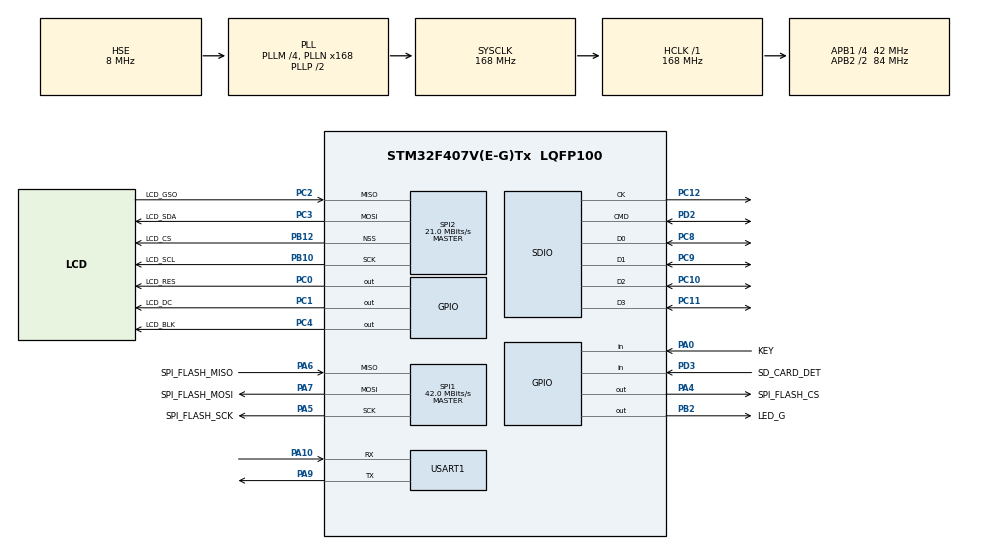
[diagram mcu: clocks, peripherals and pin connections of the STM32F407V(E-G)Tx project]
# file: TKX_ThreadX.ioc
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Dma.Request0=SDIO
Dma.Request1=SPI1_RX
Dma.Request2=SPI1_TX
Dma.Request3=SPI2_RX
Dma.Request4=SPI2_TX
Dma.SDIO.0.Direction=DMA_PERIPH_TO_MEMORY
Dma.SDIO.0.FIFOMode=DMA_FIFOMODE_ENABLE
Dma.SDIO.0.FIFOThreshold=DMA_FIFO_THRESHOLD_FULL
Dma.SDIO.0.Instance=DMA2_Stream3
Dma.SDIO.0.MemBurst=DMA_MBURST_INC4
Dma.SDIO.0.MemDataAlignment=DMA_MDATAALIGN_WORD
Dma.SDIO.0.MemInc=DMA_MINC_ENABLE
Dma.SDIO.0.Mode=DMA_PFCTRL
Dma.SDIO.0.PeriphBurst=DMA_PBURST_INC4
Dma.SDIO.0.PeriphDataAlignment=DMA_PDATAALIGN_WORD
Dma.SDIO.0.PeriphInc=DMA_PINC_DISABLE
Dma.SDIO.0.Priority=DMA_PRIORITY_HIGH
Dma.SPI1_RX.1.Direction=DMA_PERIPH_TO_MEMORY
Dma.SPI1_RX.1.FIFOMode=DMA_FIFOMODE_DISABLE
Dma.SPI1_RX.1.Instance=DMA2_Stream0
Dma.SPI1_RX.1.MemDataAlignment=DMA_MDATAALIGN_BYTE
Dma.SPI1_RX.1.MemInc=DMA_MINC_ENABLE
Dma.SPI1_RX.1.Mode=DMA_NORMAL
Dma.SPI1_RX.1.PeriphDataAlignment=DMA_PDATAALIGN_BYTE
Dma.SPI1_RX.1.PeriphInc=DMA_PINC_DISABLE
Dma.SPI1_RX.1.Priority=DMA_PRIORITY_LOW
Dma.SPI1_TX.2.Direction=DMA_MEMORY_TO_PERIPH
Dma.SPI1_TX.2.FIFOMode=DMA_FIFOMODE_DISABLE
Dma.SPI1_TX.2.Instance=DMA2_Stream5
Dma.SPI1_TX.2.MemDataAlignment=DMA_MDATAALIGN_BYTE
Dma.SPI1_TX.2.MemInc=DMA_MINC_ENABLE
Dma.SPI1_TX.2.Mode=DMA_NORMAL
Dma.SPI1_TX.2.PeriphDataAlignment=DMA_PDATAALIGN_BYTE
Dma.SPI1_TX.2.PeriphInc=DMA_PINC_DISABLE
Dma.SPI1_TX.2.Priority=DMA_PRIORITY_LOW
Dma.SPI2_RX.3.Direction=DMA_PERIPH_TO_MEMORY
Dma.SPI2_RX.3.FIFOMode=DMA_FIFOMODE_DISABLE
Dma.SPI2_RX.3.Instance=DMA1_Stream3
Dma.SPI2_RX.3.MemDataAlignment=DMA_MDATAALIGN_BYTE
Dma.SPI2_RX.3.MemInc=DMA_MINC_ENABLE
Dma.SPI2_RX.3.Mode=DMA_NORMAL
Dma.SPI2_RX.3.PeriphDataAlignment=DMA_PDATAALIGN_BYTE
Dma.SPI2_RX.3.PeriphInc=DMA_PINC_DISABLE
Dma.SPI2_RX.3.Priority=DMA_PRIORITY_LOW
Dma.SPI2_TX.4.Direction=DMA_MEMORY_TO_PERIPH
Dma.SPI2_TX.4.FIFOMode=DMA_FIFOMODE_ENABLE
Dma.SPI2_TX.4.FIFOThreshold=DMA_FIFO_THRESHOLD_FULL
Dma.SPI2_TX.4.Instance=DMA1_Stream4
Dma.SPI2_TX.4.MemBurst=DMA_MBURST_SINGLE
Dma.SPI2_TX.4.MemDataAlignment=DMA_MDATAALIGN_BYTE
Dma.SPI2_TX.4.MemInc=DMA_MINC_ENABLE
Dma.SPI2_TX.4.Mode=DMA_NORMAL
Dma.SPI2_TX.4.PeriphBurst=DMA_PBURST_SINGLE
Dma.SPI2_TX.4.PeriphDataAlignment=DMA_PDATAALIGN_BYTE
Dma.SPI2_TX.4.PeriphInc=DMA_PINC_DISABLE
Dma.SPI2_TX.4.Priority=DMA_PRIORITY_LOW
IWDG.Prescaler=IWDG_PRESCALER_64
IWDG.Reload=500
Mcu.Family=STM32F4
Mcu.Name=STM32F407V(E-G)Tx
Mcu.Package=LQFP100
NVIC.DMA1_Stream3_IRQn=true\:0\:0\:false\:false\:true\:false\:false\:true\:true
NVIC.DMA1_Stream4_IRQn=true\:0\:0\:false\:false\:true\:false\:false\:true\:true
NVIC.DMA2_Stream0_IRQn=true\:0\:0\:false\:false\:true\:false\:false\:true\:true
NVIC.DMA2_Stream3_IRQn=true\:0\:0\:false\:false\:true\:false\:false\:true\:true
NVIC.DMA2_Stream5_IRQn=true\:0\:0\:false\:false\:true\:false\:false\:true\:true
NVIC.PriorityGroup=NVIC_PRIORITYGROUP_4
NVIC.TIM6_DAC_IRQn=true\:15\:0\:false\:false\:true\:false\:false\:true\:true
NVIC.TimeBase=TIM6_DAC_IRQn
NVIC.TimeBaseIP=TIM6
NVIC.WWDG_IRQn=true\:0\:0\:false\:false\:true\:false\:true\:true\:true
PA0-WKUP.GPIO_Label=KEY
PA0-WKUP.Signal=GPIO_Input
PA10.Mode=Asynchronous
PA10.Signal=USART1_RX
PA13.Mode=JTAG_5_pins
PA13.Signal=SYS_JTMS-SWDIO
PA14.Mode=JTAG_5_pins
PA14.Signal=SYS_JTCK-SWCLK
PA15.Mode=JTAG_5_pins
PA15.Signal=SYS_JTDI
PA4.GPIO_Label=SPI_FLASH_CS
PA4.Signal=GPIO_Output
PA5.GPIO_Label=SPI_FLASH_SCK
PA5.Mode=Full_Duplex_Master
PA5.Signal=SPI1_SCK
PA6.GPIO_Label=SPI_FLASH_MISO
PA6.Mode=Full_Duplex_Master
PA6.Signal=SPI1_MISO
PA7.GPIO_Label=SPI_FLASH_MOSI
PA7.Mode=Full_Duplex_Master
PA7.Signal=SPI1_MOSI
PA9.Mode=Asynchronous
PA9.Signal=USART1_TX
PB10.GPIO_Label=LCD_SCL
PB10.Mode=Full_Duplex_Master
PB10.Signal=SPI2_SCK
PB12.GPIO_Label=LCD_CS
PB12.Mode=NSS_Signal_Hard_Output
PB12.Signal=SPI2_NSS
PB2.GPIO_Label=LED_G
PB2.Signal=GPIO_Output
PB3.Mode=JTAG_5_pins
PB3.Signal=SYS_JTDO-SWO
PB4.Mode=JTAG_5_pins
PB4.Signal=SYS_JTRST
PC0.GPIO_Label=LCD_RES
PC0.Signal=GPIO_Output
PC1.GPIO_Label=LCD_DC
PC1.Signal=GPIO_Output
PC10.Mode=SD_4_bits_Wide_bus
PC10.Signal=SDIO_D2
PC11.Mode=SD_4_bits_Wide_bus
PC11.Signal=SDIO_D3
PC12.Mode=SD_4_bits_Wide_bus
PC12.Signal=SDIO_CK
PC14-OSC32_IN.Mode=LSE-External-Oscillator
PC14-OSC32_IN.Signal=RCC_OSC32_IN
PC15-OSC32_OUT.Mode=LSE-External-Oscillator
PC15-OSC32_OUT.Signal=RCC_OSC32_OUT
PC2.GPIO_Label=LCD_GSO
PC2.Mode=Full_Duplex_Master
PC2.Signal=SPI2_MISO
PC3.GPIO_Label=LCD_SDA
PC3.Mode=Full_Duplex_Master
PC3.Signal=SPI2_MOSI
PC4.GPIO_Label=LCD_BLK
PC4.Signal=GPIO_Output
PC8.Mode=SD_4_bits_Wide_bus
PC8.Signal=SDIO_D0
PC9.Mode=SD_4_bits_Wide_bus
PC9.Signal=SDIO_D1
PD2.Mode=SD_4_bits_Wide_bus
PD2.Signal=SDIO_CMD
PD3.GPIO_Label=SD_CARD_DET
PD3.Signal=GPIO_Input
PH0-OSC_IN.Mode=HSE-External-Oscillator
PH0-OSC_IN.Signal=RCC_OSC_IN
PH1-OSC_OUT.Mode=HSE-External-Oscillator
PH1-OSC_OUT.Signal=RCC_OSC_OUT
ProjectManager.HeapSize=0x2000
ProjectManager.StackSize=0x1000
ProjectManager.TargetToolchain=EWARM V8.50
RCC.48MHZClocksFreq_Value=48000000
RCC.AHBFreq_Value=168000000
RCC.APB1CLKDivider=RCC_HCLK_DIV4
RCC.APB1Freq_Value=42000000
RCC.APB1TimFreq_Value=84000000
RCC.APB2CLKDivider=RCC_HCLK_DIV2
RCC.APB2Freq_Value=84000000
RCC.APB2TimFreq_Value=168000000
RCC.CortexFreq_Value=168000000
RCC.HCLKFreq_Value=168000000
RCC.HSE_VALUE=8000000
RCC.HSI_VALUE=16000000
RCC.PLLM=4
RCC.PLLN=168
RCC.PLLQ=7
RCC.PLLSourceVirtual=RCC_PLLSOURCE_HSE
RCC.SYSCLKFreq_VALUE=168000000
RCC.SYSCLKSource=RCC_SYSCLKSOURCE_PLLCLK
RCC.VCOOutputFreq_Value=336000000
SDIO.ClockBypass=SDIO_CLOCK_BYPASS_DISABLE
SDIO.ClockDiv=2
SPI1.BaudRatePrescaler=SPI_BAUDRATEPRESCALER_2
SPI1.CalculateBaudRate=42.0 MBits/s
SPI1.Direction=SPI_DIRECTION_2LINES
SPI1.Mode=SPI_MODE_MASTER
SPI1.VirtualType=VM_MASTER
SPI2.CalculateBaudRate=21.0 MBits/s
SPI2.Direction=SPI_DIRECTION_2LINES
SPI2.Mode=SPI_MODE_MASTER
SPI2.VirtualNSS=VM_NSSHARD
SPI2.VirtualType=VM_MASTER
STMicroelectronics.X-CUBE-AZRTOS-F4.1.1.0.FX_FAULT_TOLERANT=1
STMicroelectronics.X-CUBE-AZRTOS-F4.1.1.0.FileXCcFileOoSystemJjFileXJjCore=true
STMicroelectronics.X-CUBE-AZRTOS-F4.1.1.0.FileXCcFileOoSystemJjFileXJjTraceXOoSupport=true
STMicroelectronics.X-CUBE-AZRTOS-F4.1.1.0.InterfacesCcFileOoSystemJjFileXOoSDOointerface=true
STMicroelectronics.X-CUBE-AZRTOS-F4.1.1.0.TX_DISABLE_NOTIFY_CALLBACKS=0
STMicroelectronics.X-CUBE-AZRTOS-F4.1.1.0.TX_DISABLE_PREEMPTION_THRESHOLD=0
STMicroelectronics.X-CUBE-AZRTOS-F4.1.1.0.TX_ENABLE_EVENT_TRACE=1
STMicroelectronics.X-CUBE-AZRTOS-F4.1.1.0.TX_ENABLE_IAR_LIBRARY_SUPPORT=1
STMicroelectronics.X-CUBE-AZRTOS-F4.1.1.0.TX_ENABLE_STACK_CHECKING=1
STMicroelectronics.X-CUBE-AZRTOS-F4.1.1.0.TX_MINIMUM_STACK=256
STMicroelectronics.X-CUBE-AZRTOS-F4.1.1.0.TX_NO_FILEX_POINTER=1
STMicroelectronics.X-CUBE-AZRTOS-F4.1.1.0.TX_SAFETY_CRITICAL=0
STMicroelectronics.X-CUBE-AZRTOS-F4.1.1.0.TX_TIMER_TICKS_PER_SECOND=1000
STMicroelectronics.X-CUBE-AZRTOS-F4.1.1.0.ThreadXCcRTOSJjThreadXJjCore=true
STMicroelectronics.X-CUBE-AZRTOS-F4.1.1.0.ThreadXCcRTOSJjThreadXJjLowOoPowerOosupport=true
STMicroelectronics.X-CUBE-AZRTOS-F4.1.1.0.ThreadXCcRTOSJjThreadXJjPerformanceInfo=true
STMicroelectronics.X-CUBE-AZRTOS-F4.1.1.0.ThreadXCcRTOSJjThreadXJjTraceXOosupport=true
STMicroelectronics.X-CUBE-AZRTOS-F4.1.1.0_IsAnAzureRtosMw=true
USART1.VirtualMode=VM_ASYNC
VP_CRC_VS_CRC.Mode=CRC_Activate
VP_IWDG_VS_IWDG.Mode=IWDG_Activate
VP_STMicroelectronics.X-CUBE-AZRTOS-F4_VS_FileOoSystemJjFileX_6.1.10_1.1.0.Mode=FileOoSystemJjFileX
VP_STMicroelectronics.X-CUBE-AZRTOS-F4_VS_FileOoSystemJjInterfaces_2.1.0_1.1.0.Mode=FileOoSystemJjInterfaces
VP_STMicroelectronics.X-CUBE-AZRTOS-F4_VS_RTOSJjThreadX_6.1.10_1.1.0.Mode=RTOSJjThreadX
VP_SYS_VS_tim6.Mode=TIM6
VP_WWDG_VS_WWDG.Mode=WWDG_Activate
WWDG.Counter=127
WWDG.EWIMode=WWDG_EWI_ENABLE
WWDG.Prescaler=WWDG_PRESCALER_8
WWDG.Window=80
board=custom

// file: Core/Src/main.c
/* USER CODE BEGIN Header */
/**
  ******************************************************************************
  * @file           : main.c
  * @brief          : Main program body
  ******************************************************************************
  * @attention
  *
  * Copyright (c) 2025 STMicroelectronics.
  * All rights reserved.
  *
  * This software is licensed under terms that can be found in the LICENSE file
  * in the root directory of this software component.
  * If no LICENSE file comes with this software, it is provided AS-IS.
  *
  ******************************************************************************
  */
/* USER CODE END Header */
#include "app_threadx.h"
#include "main.h"
#include "crc.h"
#include "dma.h"
#include "iwdg.h"
#include "sdio.h"
#include "spi.h"
#include "usart.h"
#include "wwdg.h"
#include "gpio.h"

/* USER CODE BEGIN Includes */
#include "app_main.h"
#include "safety_core.h"
#include "safety_mpu.h"
#include "SEGGER_RTT.h"
/* USER CODE END Includes */

void SystemClock_Config(void);

int main(void)
{

  /* USER CODE BEGIN 1 */
  /* Re-enable interrupts (disabled by bootloader jump) */
  __enable_irq();

  /* Enable DWT cycle counter for RTT timestamps (after bootloader jump) */
  CoreDebug->DEMCR |= CoreDebug_DEMCR_TRCENA_Msk;
  DWT->CYCCNT = 0U;
  DWT->CTRL |= DWT_CTRL_CYCCNTENA_Msk;

  /* Initialize RTT early for debug output */
  SEGGER_RTT_Init();
  SEGGER_RTT_printf(0, "\r\n=== App Starting ===\r\n");

  /* Early safety initialization before HAL */
  Safety_EarlyInit();
  /* USER CODE END 1 */

  /* MCU Configuration--------------------------------------------------------*/

  /* Reset of all peripherals, Initializes the Flash interface and the Systick. */
  HAL_Init();

  /* Configure the system clock */
  SystemClock_Config();

  /* USER CODE BEGIN SysInit */
  /* Post-clock safety initialization */
  Safety_PostClockInit();
  /* Initialize MPU protection */
  Safety_MPU_Init();
  /* USER CODE END SysInit */

  /* Initialize all configured peripherals */
  MX_GPIO_Init();
  MX_DMA_Init();
  MX_SDIO_SD_Init();
  MX_SPI1_Init();
  MX_SPI2_Init();
  MX_CRC_Init();
  MX_IWDG_Init();
  MX_USART1_UART_Init();
  MX_WWDG_Init();
  /* USER CODE BEGIN 2 */
  SEGGER_RTT_printf(0, "Peripherals initialized\r\n");

  /* Peripheral initialization for safety */
  Safety_PeripheralInit();
  SEGGER_RTT_printf(0, "Safety peripheral init done\r\n");

  /* Pre-initialization before ThreadX */
  App_PreInit();
  SEGGER_RTT_printf(0, "App pre-init done, starting ThreadX...\r\n");
  /* USER CODE END 2 */

  MX_ThreadX_Init();

  /* We should never get here as control is now taken by the scheduler */

  /* Infinite loop */
  while (1)
  {

  }
}

void SystemClock_Config(void)
{
  RCC_OscInitTypeDef RCC_OscInitStruct = {0};
  RCC_ClkInitTypeDef RCC_ClkInitStruct = {0};

  /** Configure the main internal regulator output voltage
  */
  __HAL_RCC_PWR_CLK_ENABLE();
  __HAL_PWR_VOLTAGESCALING_CONFIG(PWR_REGULATOR_VOLTAGE_SCALE1);

  /** Initializes the RCC Oscillators according to the specified parameters
  * in the RCC_OscInitTypeDef structure.
  */
  RCC_OscInitStruct.OscillatorType = RCC_OSCILLATORTYPE_LSI|RCC_OSCILLATORTYPE_HSE;
  RCC_OscInitStruct.HSEState = RCC_HSE_ON;
  RCC_OscInitStruct.LSIState = RCC_LSI_ON;
  RCC_OscInitStruct.PLL.PLLState = RCC_PLL_ON;
  RCC_OscInitStruct.PLL.PLLSource = RCC_PLLSOURCE_HSE;
  RCC_OscInitStruct.PLL.PLLM = 4;
  RCC_OscInitStruct.PLL.PLLN = 168;
  RCC_OscInitStruct.PLL.PLLP = RCC_PLLP_DIV2;
  RCC_OscInitStruct.PLL.PLLQ = 7;
  if (HAL_RCC_OscConfig(&RCC_OscInitStruct) != HAL_OK)
  {
    Error_Handler();
  }

  /** Initializes the CPU, AHB and APB buses clocks
  */
  RCC_ClkInitStruct.ClockType = RCC_CLOCKTYPE_HCLK|RCC_CLOCKTYPE_SYSCLK
                              |RCC_CLOCKTYPE_PCLK1|RCC_CLOCKTYPE_PCLK2;
  RCC_ClkInitStruct.SYSCLKSource = RCC_SYSCLKSOURCE_PLLCLK;
  RCC_ClkInitStruct.AHBCLKDivider = RCC_SYSCLK_DIV1;
  RCC_ClkInitStruct.APB1CLKDivider = RCC_HCLK_DIV4;
  RCC_ClkInitStruct.APB2CLKDivider = RCC_HCLK_DIV2;

  if (HAL_RCC_ClockConfig(&RCC_ClkInitStruct, FLASH_LATENCY_5) != HAL_OK)
  {
    Error_Handler();
  }
}

void HAL_TIM_PeriodElapsedCallback(TIM_HandleTypeDef *htim)
{
  if (htim->Instance == TIM6) {
    HAL_IncTick();
  }
}

void Error_Handler(void)
{
  __disable_irq();
  while (1)
  {
  }
}
